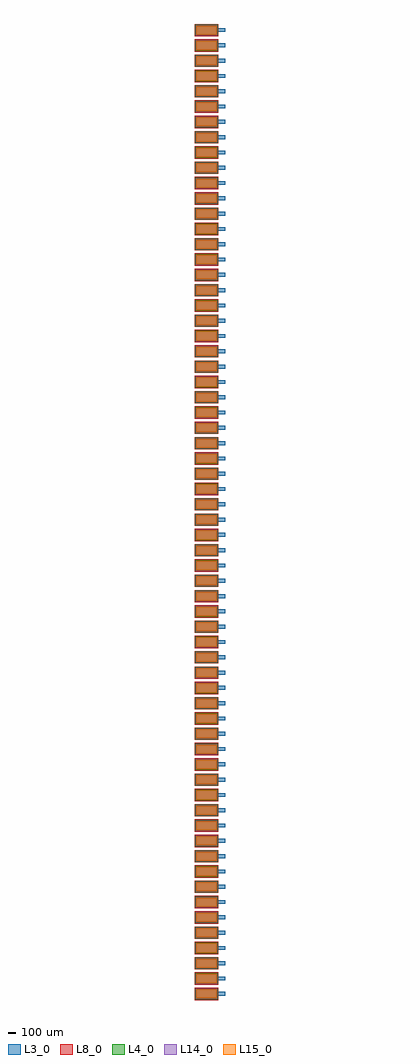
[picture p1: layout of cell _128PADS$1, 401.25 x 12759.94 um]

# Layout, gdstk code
import gdstk
lib = gdstk.Library(unit=1e-6, precision=1e-09)
def R(c, l, rs):  # rectangles x0, y0, x1, y1
    for r in rs: c.add(gdstk.rectangle(r[:2], r[2:], *l))
def P(c, l, *ps):  # polygons
    for p in ps: c.add(gdstk.Polygon(p, *l))
L3_0 = (3, 0)
L4_0 = (4, 0)
L8_0 = (8, 0)
L14_0 = (14, 0)
L15_0 = (15, 0)

c_128pad_1 = lib.new_cell('128PAD$1')
P(c_128pad_1, L3_0, [(0,-50),(0,100),(300,100),(300,50.5),(396.246,50.5),(396.246,0.5),(300,0.501),(300,-50)])
R(c_128pad_1, L4_0, [(5,-45,295,95.001)])
R(c_128pad_1, L8_0, [(-5,-54.999,305,105)])
R(c_128pad_1, L14_0, [(10,-40,290,90.001)])
P(c_128pad_1, L15_0, [(15,-35),(15.001,85),(285,85.001),(285,-35)])

c__128pads_1 = lib.new_cell('_128PADS$1')
r = gdstk.Reference(c_128pad_1, (-202.5,-6324.937)); r.repetition = gdstk.Repetition(1, 64, v1=(0,0), v2=(0,199.999)); c__128pads_1.add(r)

lib.write_gds('_128PADS_1.gds')
